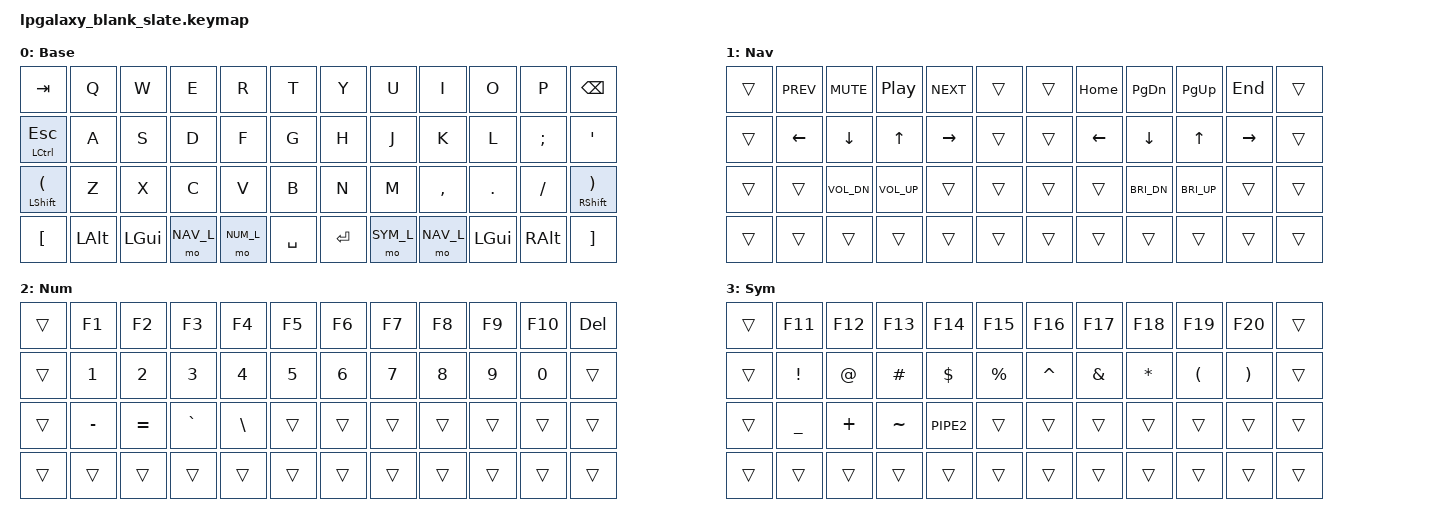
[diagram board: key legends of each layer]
/*
 * Copyright (c) 2022 Pete Johanson
 *
 * SPDX-License-Identifier: MIT
 */

#include <behaviors.dtsi>
#include <dt-bindings/zmk/keys.h>
#include <dt-bindings/zmk/bt.h>
#include <dt-bindings/zmk/outputs.h>

#define NAV_L 1
#define NUM_L 2
#define SYM_L 3
#define FUN_L 4


/ {

    keymap {
        compatible = "zmk,keymap";

        // Layout based on Felerius "Planck keyboard layout"
        // https://github.com/Felerius/planck-layout

        base_layer {
            label = "Base";
            bindings = <
                    &kp TAB        &kp Q     &kp W     &kp E     &kp R     &kp T     &kp Y     &kp U     &kp I     &kp O     &kp P     &kp BKSP
                    &mt LCTRL ESC  &kp A     &kp S     &kp D     &kp F     &kp G     &kp H     &kp J     &kp K     &kp L     &kp SEMI  &kp QUOT
                    &mt LSHFT LPAR &kp Z     &kp X     &kp C     &kp V     &kp B     &kp N     &kp M     &kp COMMA &kp DOT   &kp FSLH  &mt RSHFT RPAR
                    &kp LBKT       &kp LALT  &kp LGUI  &mo NAV_L &mo NUM_L &kp SPACE &kp RET &mo SYM_L   &mo NAV_L &kp LGUI  &kp RALT  &kp RBKT
            >;
        };

        nav_layer {
            label = "Nav";
            bindings = <
                &trans     &kp C_PREV &kp C_MUTE   &kp C_PP     &kp C_NEXT &trans     &trans     &kp HOME   &kp PG_DN    &kp PG_UP    &kp END    &trans
                &trans     &kp LEFT   &kp DOWN     &kp UP       &kp RIGHT  &trans     &trans     &kp LEFT   &kp DOWN     &kp UP       &kp RIGHT  &trans
                &trans     &trans     &kp C_VOL_DN &kp C_VOL_UP &trans     &trans     &trans     &trans     &kp C_BRI_DN &kp C_BRI_UP &trans     &trans
                &trans     &trans     &trans       &trans       &trans     &trans     &trans     &trans     &trans       &trans       &trans     &trans
            >;
        };

        num_layer {
            label = "Num";
            bindings = <
                &trans     &kp F1     &kp F2     &kp F3      &kp F4     &kp F5     &kp F6     &kp F7     &kp F8      &kp F9     &kp F10    &kp DEL
                &trans     &kp N1     &kp N2     &kp N3      &kp N4     &kp N5     &kp N6     &kp N7     &kp N8      &kp N9     &kp N0     &trans
                &trans     &kp MINUS  &kp EQUAL  &kp GRAVE   &kp BSLH   &trans     &trans     &trans     &trans      &trans     &trans     &trans
                &trans     &trans     &trans     &trans      &trans     &trans     &trans     &trans     &trans      &trans     &trans     &trans
            >;
        };

        sym_layer {
            label = "Sym";
            bindings = <
                &trans     &kp F11    &kp F12    &kp F13     &kp F14    &kp F15    &kp F16    &kp F17    &kp F18     &kp F19    &kp F20    &trans
                &trans     &kp EXCL   &kp AT     &kp HASH    &kp DLLR   &kp PRCNT  &kp CARET  &kp AMPS   &kp ASTRK   &kp LPAR   &kp RPAR   &trans
                &trans     &kp UNDER  &kp PLUS   &kp TILDE   &kp PIPE2  &trans     &trans     &trans     &trans      &trans     &trans     &trans
                &trans     &trans     &trans     &trans      &trans     &trans     &trans     &trans     &trans      &trans     &trans     &trans
            >;
        };


    };
};

